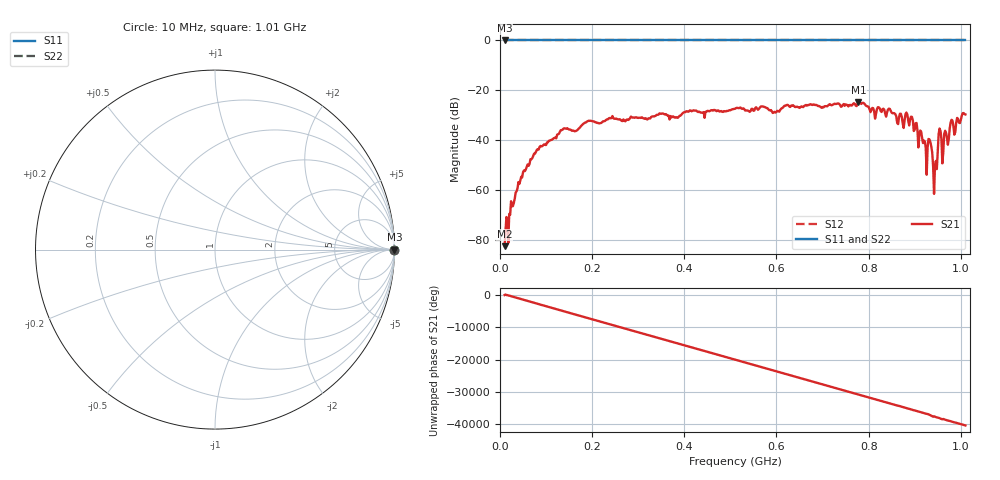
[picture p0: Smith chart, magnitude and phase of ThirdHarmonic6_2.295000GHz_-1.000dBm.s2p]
! 8/17/2025 3:04:39 AM
! C:\ANRITSUVNA\TEMP\TEMP.S2P
! CHANNEL.1
! TR.MEASUREMENT
! RAW.DATA
! RF.CORRECTION.OFF
! AVERAGING.OFF
! IF.BANDWIDTH: 5KHZ
! SWEEPTYPE:  FREQ.SWEEP(Linear)
! Reference Plane Port Info
! PORT:  PORT1  PORT2
! DISTANCE:  0  m  0  m
! TIME:  0  s  0  s
! PHASE.OFFSET:  0  deg.  0  deg.
! LOSS:  0  dB  0  dB
! REF.LOSS:  0  dB  0  dB
! REF.FREQ:  0  Hz  0  Hz
! Power Info
! POWER:  -20  dBm  -20  dBm
! EFF.POWER:  -20  dBm  -20  dBm
! SOURCE.ATTEN:  0  dB  0  dB
! TEST.ATTEN:  0  dB  0  dB
# GHZ S RI R 50.0
! FREQ.GHZ  S11RE  S11IM  S21RE  S21IM  S12RE  S12IM  S22RE  S22IM
!; PortSelection: Port_12
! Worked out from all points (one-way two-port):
!   501 points, 10 MHz to 1.01 GHz, reference 50 ohm
!   highest |S21| = -24.71 dB at 778 MHz (marker M1); lowest = -82.4 dB at 10 MHz (marker M2)
!   lowest |S11| = 0.0 dB at 10 MHz (marker M3)
!   |S11| at or under -10 dB: nowhere
!   |S22| runs from 0.0 to 0.0 dB; largest |S21 - S12| = 1.1
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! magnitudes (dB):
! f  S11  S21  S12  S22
! 10 MHz  0.0  -82.4  0.0  0.0
! 42 MHz  0.0  -57.5  0.0  0.0
! 78 MHz  0.0  -44.6  0.0  0.0
! 136 MHz  0.0  -35.7  0.0  0.0
! 178 MHz  0.0  -33.8  0.0  0.0
! 344 MHz  0.0  -29.7  0.0  0.0
! 510 MHz  0.0  -27.4  0.0  0.0
! 596 MHz  0.0  -28.6  0.0  0.0
! 678 MHz  0.0  -25.8  0.0  0.0
! 778 MHz  0.0  -24.7  0.0  0.0
! 844 MHz  0.0  -27.3  0.0  0.0
! 892 MHz  0.0  -30.5  0.0  0.0
! 916 MHz  0.0  -39.0  0.0  0.0
! 924 MHz  0.0  -43.1  0.0  0.0
! 934 MHz  0.0  -40.7  0.0  0.0
! 938 MHz  0.0  -44.9  0.0  0.0
! 944 MHz  0.0  -50.2  0.0  0.0
! 954 MHz  0.0  -35.2  0.0  0.0
! 962 MHz  0.0  -44.7  0.0  0.0
! 980 MHz  0.0  -31.8  0.0  0.0
! 988 MHz  0.0  -36.8  0.0  0.0
! 1.01 GHz  0.0  -29.6  0.0  0.0
